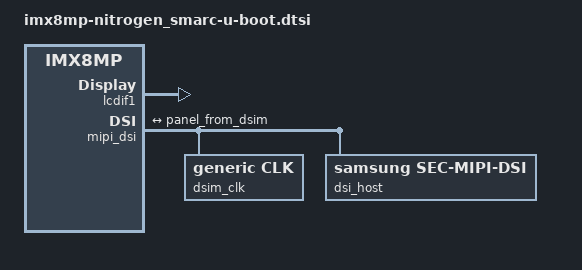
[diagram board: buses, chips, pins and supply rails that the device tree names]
// SPDX-License-Identifier: GPL-2.0+
/*
 * Copyright 2019 NXP
 */
#include "imx8mp-u-boot.dtsi"

/ {
	wdt-reboot {
		compatible = "wdt-reboot";
		wdt = <&wdog1>;
		bootph-pre-ram;
	};
};

&{/soc@0} {
	bootph-all;
	bootph-pre-ram;
};

&aips1 {
	bootph-all;
	bootph-pre-ram;
};

&aips2 {
	bootph-all;
};

&aips3 {
	bootph-all;
};

&clk {
	bootph-all;
	bootph-pre-ram;
};

&eqos {
	compatible = "fsl,imx-eqos";
	/delete-property/ assigned-clocks;
	/delete-property/ assigned-clock-parents;
	/delete-property/ assigned-clock-rates;
};

&gpio1 {
	bootph-all;
};

&gpio2 {
	bootph-all;
};

&gpio3 {
	bootph-all;
};

&gpio4 {
	bootph-all;
};

&gpio5 {
	bootph-all;
};

&i2c1 {
	bootph-pre-ram;
};

&i2c2 {
	bootph-pre-ram;
};

&i2c3 {
	bootph-pre-ram;
};

&i2c4 {
	bootph-pre-ram;
};

&i2c5 {
	bootph-pre-ram;
};

&i2c6 {
	bootph-pre-ram;
};

&iomuxc {
	bootph-pre-ram;
};

&lcdif1 {
	display = <&fb_mipi>;
	status = "okay";
};

&mcp23018 {
	desired-gpio-base = <224>;
};

&mipi_dsi {
	fb_mipi: panel@0 {
		bits-per-pixel = <24>;
		bus-width = <24>;
		clocks = <&dsim_clk 0>,
			 <&clk IMX8MP_CLK_MEDIA_DISP1_PIX_ROOT>;

		mipi_to_lvds: mipi-to-lvds {
			// interrupts-gpios = GP_MIPI_IRQ(GPIO_ACTIVE_HIGH);
		};

		port@1 {
			panel_from_dsim: endpoint {
				remote-endpoint = <&dsim_to_panel>;
			};
		};
	};

	dsim_clk: dsim-clk {
		#clock-cells = <1>;
		#size-cells = <0>;
		compatible = "generic,clk";
		clocks = <&clk IMX8MP_CLK_MEDIA_MIPI_PHY1_REF>;
		clock-names = "parent";
		clock-output-names = "dsim-clk";
		status = "okay";
	};

	dsi_host: dsi-host {
		compatible = "samsung,sec-mipi-dsi";
		clocks = <&dsim_clk 0>,
			<&clk IMX8MP_CLK_MEDIA_APB_ROOT>,
			<&clk IMX8MP_CLK_MEDIA_MIPI_PHY1_REF>,
			<&clk IMX8MP_CLK_MEDIA_DISP1_PIX_ROOT>;
		clock-names = "dsim-clk", "cfg", "pll-ref", "pixel_clock";
		status = "okay";
	};

	port@1 {
		dsim_to_panel: endpoint {
			remote-endpoint = <&panel_from_dsim>;
		};
	};
};

&osc_32k {
	bootph-all;
	bootph-pre-ram;
};

&osc_24m {
	bootph-all;
	bootph-pre-ram;
};

&pinctrl_uart2 {
	bootph-all;
};

&pinctrl_usdhc1 {
	bootph-all;
};

&pinctrl_usdhc1_100mhz {
	bootph-all;
};

&pinctrl_usdhc1_200mhz {
	bootph-all;
};

#if 0
&pinctrl_usdhc2 {
	bootph-all;
};

&pinctrl_usdhc2_100mhz {
	bootph-all;
};

&pinctrl_usdhc2_200mhz {
	bootph-all;
};
#endif

&reg_vref_3v3 {
	bootph-all;
};

&uart2 {
	bootph-all;
};

&usdhc1 {
	cap-mmc-highspeed;
	mmc-ddr-1_8v;
	mmc-hs200-1_8v;
	bootph-all;
};

&usdhc2 {
	cap-sd-highspeed;
	sd-uhs-ddr50;
	sd-uhs-sdr104;
	sd-uhs-sdr12;
	sd-uhs-sdr25;
#if 0
	bootph-all;
#endif
};

&usdhc3 {
	status = "disabled";
};

&wdog1 {
	bootph-all;
};
